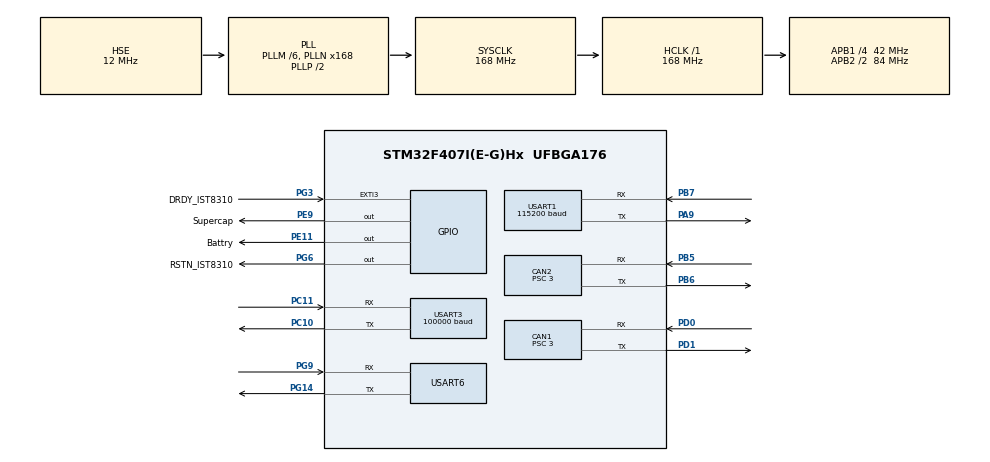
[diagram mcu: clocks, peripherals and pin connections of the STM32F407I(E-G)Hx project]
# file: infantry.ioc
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CAN1.ABOM=ENABLE
CAN1.AWUM=ENABLE
CAN1.BS1=CAN_BS1_5TQ
CAN1.BS2=CAN_BS2_8TQ
CAN1.CalculateBaudRate=1000000
CAN1.CalculateTimeBit=1000
CAN1.CalculateTimeQuantum=71.42857142857143
CAN1.Mode=CAN_MODE_NORMAL
CAN1.Prescaler=3
CAN2.ABOM=ENABLE
CAN2.AWUM=ENABLE
CAN2.BS1=CAN_BS1_5TQ
CAN2.BS2=CAN_BS2_8TQ
CAN2.CalculateBaudRate=1000000
CAN2.CalculateTimeBit=1000
CAN2.CalculateTimeQuantum=71.42857142857143
CAN2.Mode=CAN_MODE_NORMAL
CAN2.Prescaler=3
Dma.Request0=USART3_RX
Dma.Request1=USART1_RX
Dma.Request2=USART1_TX
Dma.Request3=USART6_RX
Dma.Request4=USART6_TX
Dma.USART1_RX.1.Direction=DMA_PERIPH_TO_MEMORY
Dma.USART1_RX.1.FIFOMode=DMA_FIFOMODE_DISABLE
Dma.USART1_RX.1.Instance=DMA2_Stream5
Dma.USART1_RX.1.MemDataAlignment=DMA_MDATAALIGN_BYTE
Dma.USART1_RX.1.MemInc=DMA_MINC_ENABLE
Dma.USART1_RX.1.Mode=DMA_NORMAL
Dma.USART1_RX.1.PeriphDataAlignment=DMA_PDATAALIGN_BYTE
Dma.USART1_RX.1.PeriphInc=DMA_PINC_DISABLE
Dma.USART1_RX.1.Priority=DMA_PRIORITY_MEDIUM
Dma.USART1_TX.2.Direction=DMA_MEMORY_TO_PERIPH
Dma.USART1_TX.2.FIFOMode=DMA_FIFOMODE_DISABLE
Dma.USART1_TX.2.Instance=DMA2_Stream7
Dma.USART1_TX.2.MemDataAlignment=DMA_MDATAALIGN_BYTE
Dma.USART1_TX.2.MemInc=DMA_MINC_ENABLE
Dma.USART1_TX.2.Mode=DMA_NORMAL
Dma.USART1_TX.2.PeriphDataAlignment=DMA_PDATAALIGN_BYTE
Dma.USART1_TX.2.PeriphInc=DMA_PINC_DISABLE
Dma.USART1_TX.2.Priority=DMA_PRIORITY_MEDIUM
Dma.USART3_RX.0.Direction=DMA_PERIPH_TO_MEMORY
Dma.USART3_RX.0.FIFOMode=DMA_FIFOMODE_DISABLE
Dma.USART3_RX.0.Instance=DMA1_Stream1
Dma.USART3_RX.0.MemDataAlignment=DMA_MDATAALIGN_BYTE
Dma.USART3_RX.0.MemInc=DMA_MINC_ENABLE
Dma.USART3_RX.0.Mode=DMA_NORMAL
Dma.USART3_RX.0.PeriphDataAlignment=DMA_PDATAALIGN_BYTE
Dma.USART3_RX.0.PeriphInc=DMA_PINC_DISABLE
Dma.USART3_RX.0.Priority=DMA_PRIORITY_MEDIUM
Dma.USART6_RX.3.Direction=DMA_PERIPH_TO_MEMORY
Dma.USART6_RX.3.FIFOMode=DMA_FIFOMODE_DISABLE
Dma.USART6_RX.3.Instance=DMA2_Stream1
Dma.USART6_RX.3.MemDataAlignment=DMA_MDATAALIGN_BYTE
Dma.USART6_RX.3.MemInc=DMA_MINC_ENABLE
Dma.USART6_RX.3.Mode=DMA_NORMAL
Dma.USART6_RX.3.PeriphDataAlignment=DMA_PDATAALIGN_BYTE
Dma.USART6_RX.3.PeriphInc=DMA_PINC_DISABLE
Dma.USART6_RX.3.Priority=DMA_PRIORITY_HIGH
Dma.USART6_TX.4.Direction=DMA_MEMORY_TO_PERIPH
Dma.USART6_TX.4.FIFOMode=DMA_FIFOMODE_DISABLE
Dma.USART6_TX.4.Instance=DMA2_Stream6
Dma.USART6_TX.4.MemDataAlignment=DMA_MDATAALIGN_BYTE
Dma.USART6_TX.4.MemInc=DMA_MINC_ENABLE
Dma.USART6_TX.4.Mode=DMA_NORMAL
Dma.USART6_TX.4.PeriphDataAlignment=DMA_PDATAALIGN_BYTE
Dma.USART6_TX.4.PeriphInc=DMA_PINC_DISABLE
Dma.USART6_TX.4.Priority=DMA_PRIORITY_MEDIUM
Mcu.Family=STM32F4
Mcu.Name=STM32F407I(E-G)Hx
Mcu.Package=UFBGA176
NVIC.CAN1_RX0_IRQn=true\:5\:0\:true\:false\:true\:true\:true\:true
NVIC.CAN2_RX0_IRQn=true\:5\:0\:true\:false\:true\:true\:true\:true
NVIC.DMA1_Stream1_IRQn=true\:0\:0\:false\:false\:true\:false\:true\:true
NVIC.DMA2_Stream1_IRQn=true\:5\:0\:true\:false\:true\:false\:true\:true
NVIC.DMA2_Stream5_IRQn=true\:0\:0\:false\:false\:true\:false\:true\:true
NVIC.DMA2_Stream6_IRQn=true\:5\:0\:true\:false\:true\:false\:true\:true
NVIC.DMA2_Stream7_IRQn=true\:5\:0\:true\:false\:true\:false\:true\:true
NVIC.PriorityGroup=NVIC_PRIORITYGROUP_4
NVIC.TIM3_IRQn=true\:5\:0\:true\:false\:true\:true\:true\:true
NVIC.USART1_IRQn=true\:5\:0\:true\:false\:false\:true\:true\:true
NVIC.USART3_IRQn=true\:4\:0\:true\:false\:false\:true\:true\:true
NVIC.USART6_IRQn=true\:5\:0\:true\:false\:false\:true\:true\:true
PA13.Mode=Serial_Wire
PA13.Signal=SYS_JTMS-SWDIO
PA14.Mode=Serial_Wire
PA14.Signal=SYS_JTCK-SWCLK
PA9.Mode=Asynchronous
PA9.Signal=USART1_TX
PB5.Mode=CAN_Activate
PB5.Signal=CAN2_RX
PB6.Mode=CAN_Activate
PB6.Signal=CAN2_TX
PB7.Mode=Asynchronous
PB7.Signal=USART1_RX
PC10.Mode=Asynchronous
PC10.Signal=USART3_TX
PC11.Mode=Asynchronous
PC11.Signal=USART3_RX
PD0.Mode=CAN_Activate
PD0.Signal=CAN1_RX
PD1.Mode=CAN_Activate
PD1.Signal=CAN1_TX
PE11.GPIO_Label=Battry
PE11.Signal=GPIO_Output
PE9.GPIO_Label=Supercap
PE9.PinState=GPIO_PIN_SET
PE9.Signal=GPIO_Output
PG14.Mode=Asynchronous
PG14.Signal=USART6_TX
PG3.GPIO_Label=DRDY_IST8310
PG3.GPIO_PuPd=GPIO_PULLUP
PG3.Signal=GPXTI3
PG6.GPIO_Label=RSTN_IST8310
PG6.GPIO_PuPd=GPIO_PULLUP
PG6.GPIO_Speed=GPIO_SPEED_FREQ_HIGH
PG6.PinState=GPIO_PIN_SET
PG6.Signal=GPIO_Output
PG9.Mode=Asynchronous
PG9.Signal=USART6_RX
PH0-OSC_IN.Mode=HSE-External-Oscillator
PH0-OSC_IN.Signal=RCC_OSC_IN
PH1-OSC_OUT.Mode=HSE-External-Oscillator
PH1-OSC_OUT.Signal=RCC_OSC_OUT
ProjectManager.HeapSize=0x200
ProjectManager.StackSize=0x400
ProjectManager.TargetToolchain=MDK-ARM V5.32
RCC.48MHZClocksFreq_Value=84000000
RCC.AHBFreq_Value=168000000
RCC.APB1CLKDivider=RCC_HCLK_DIV4
RCC.APB1Freq_Value=42000000
RCC.APB1TimFreq_Value=84000000
RCC.APB2CLKDivider=RCC_HCLK_DIV2
RCC.APB2Freq_Value=84000000
RCC.APB2TimFreq_Value=168000000
RCC.CortexFreq_Value=168000000
RCC.HCLKFreq_Value=168000000
RCC.HSE_VALUE=12000000
RCC.HSI_VALUE=16000000
RCC.LSE_VALUE=32768
RCC.PLLM=6
RCC.PLLN=168
RCC.PLLSourceVirtual=RCC_PLLSOURCE_HSE
RCC.SYSCLKFreq_VALUE=168000000
RCC.SYSCLKSource=RCC_SYSCLKSOURCE_PLLCLK
RCC.VCOOutputFreq_Value=336000000
TIM10.Period=4999
TIM3.Period=1000-1
TIM3.Prescaler=84-1
USART1.BaudRate=115200
USART1.VirtualMode=VM_ASYNC
USART3.BaudRate=100000
USART3.Mode=MODE_RX
USART3.VirtualMode=VM_ASYNC
USART6.VirtualMode=VM_ASYNC
VP_TIM10_VS_ClockSourceINT.Mode=Enable_Timer
VP_TIM3_VS_ClockSourceINT.Mode=Internal
board=custom

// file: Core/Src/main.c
/* USER CODE BEGIN Header */
/**
 ******************************************************************************
 * @file           : main.c
 * @brief          : Main program body
 ******************************************************************************
 * @attention
 *
 * <h2><center>&copy; Copyright (c) 2021 STMicroelectronics.
 * All rights reserved.</center></h2>
 *
 * This software component is licensed by ST under BSD 3-Clause license,
 * the "License"; You may not use this file except in compliance with the
 * License. You may obtain a copy of the License at:
 *                        opensource.org/licenses/BSD-3-Clause
 *
 ******************************************************************************
 */
/* USER CODE END Header */
#include "main.h"
#include "can.h"
#include "dma.h"
#include "tim.h"
#include "usart.h"
#include "gpio.h"

/* USER CODE BEGIN Includes */
#include "referee_UI.h"
#include "buzzer.h"
/* USER CODE END Includes */

/* USER CODE BEGIN PV */
uint32_t time_3ms = 0;
uint32_t time_1ms = 0;
/* USER CODE END PV */

void SystemClock_Config(void);

/* USER CODE BEGIN 0 */
int status = 5;
char distance_left[7];
char distance_right[7];
int dis = 1;
unsigned short int distance_L;
/* USER CODE END 0 */

int main(void)
{

  /* MCU Configuration--------------------------------------------------------*/

  /* Reset of all peripherals, Initializes the Flash interface and the Systick. */
  HAL_Init();

  /* Configure the system clock */
  SystemClock_Config();

  /* USER CODE BEGIN SysInit */
  MX_DMA_Init();
  /* USER CODE END SysInit */

  /* Initialize all configured peripherals */
  MX_GPIO_Init();
  MX_DMA_Init();
  MX_CAN2_Init();
  MX_TIM3_Init();
  MX_USART1_UART_Init();
  MX_CAN1_Init();
  MX_USART3_UART_Init();
  MX_USART6_UART_Init();
  MX_TIM10_Init();
  /* USER CODE BEGIN 2 */
  //MX_TIM4_Init();
  //buzzer_init_example();
  //HAL_TIM_PWM_Start(&htim4, TIM_CHANNEL_3);

  all_init();
  mode_init();
  time_3ms = uwTick;
  time_1ms = uwTick;
  //buzzer_setTask(&buzzer, BUZZER_DJI_STARTUP_PRIORITY);
  //	LQR_Init();
  //	LQR_Controller();
  /* USER CODE END 2 */

  /* Infinite loop */
  /* USER CODE BEGIN WHILE */
  while (1)
  {
    if (uwTick - time_3ms >= 3)
    {
      time_3ms = uwTick;
      referee_usart_task();
    }
    if (uwTick - time_1ms >= 1)
    {
      time_1ms = uwTick;

    }

    // HAL_Delay(3);
    //		logistic_slip_detect(imu_a,imu_s__,speed__,torque__);
    //  chassis_control_order.chassis_mode=0;
    //		if(chassis_control_order.chassis_mode==CHASSIS_FOLLOW)
    //		{
    //			remote_control();
    //			LQR_Controller();
    //		}
    /* USER CODE END WHILE */

  }
}

void SystemClock_Config(void)
{
  RCC_OscInitTypeDef RCC_OscInitStruct = {0};
  RCC_ClkInitTypeDef RCC_ClkInitStruct = {0};

  /** Configure the main internal regulator output voltage
  */
  __HAL_RCC_PWR_CLK_ENABLE();
  __HAL_PWR_VOLTAGESCALING_CONFIG(PWR_REGULATOR_VOLTAGE_SCALE1);

  /** Initializes the RCC Oscillators according to the specified parameters
  * in the RCC_OscInitTypeDef structure.
  */
  RCC_OscInitStruct.OscillatorType = RCC_OSCILLATORTYPE_HSE;
  RCC_OscInitStruct.HSEState = RCC_HSE_ON;
  RCC_OscInitStruct.PLL.PLLState = RCC_PLL_ON;
  RCC_OscInitStruct.PLL.PLLSource = RCC_PLLSOURCE_HSE;
  RCC_OscInitStruct.PLL.PLLM = 6;
  RCC_OscInitStruct.PLL.PLLN = 168;
  RCC_OscInitStruct.PLL.PLLP = RCC_PLLP_DIV2;
  RCC_OscInitStruct.PLL.PLLQ = 4;
  if (HAL_RCC_OscConfig(&RCC_OscInitStruct) != HAL_OK)
  {
    Error_Handler();
  }

  /** Initializes the CPU, AHB and APB buses clocks
  */
  RCC_ClkInitStruct.ClockType = RCC_CLOCKTYPE_HCLK|RCC_CLOCKTYPE_SYSCLK
                              |RCC_CLOCKTYPE_PCLK1|RCC_CLOCKTYPE_PCLK2;
  RCC_ClkInitStruct.SYSCLKSource = RCC_SYSCLKSOURCE_PLLCLK;
  RCC_ClkInitStruct.AHBCLKDivider = RCC_SYSCLK_DIV1;
  RCC_ClkInitStruct.APB1CLKDivider = RCC_HCLK_DIV4;
  RCC_ClkInitStruct.APB2CLKDivider = RCC_HCLK_DIV2;

  if (HAL_RCC_ClockConfig(&RCC_ClkInitStruct, FLASH_LATENCY_5) != HAL_OK)
  {
    Error_Handler();
  }
}

void Error_Handler(void)
{
  __disable_irq();
  while (1)
  {
  }
}
